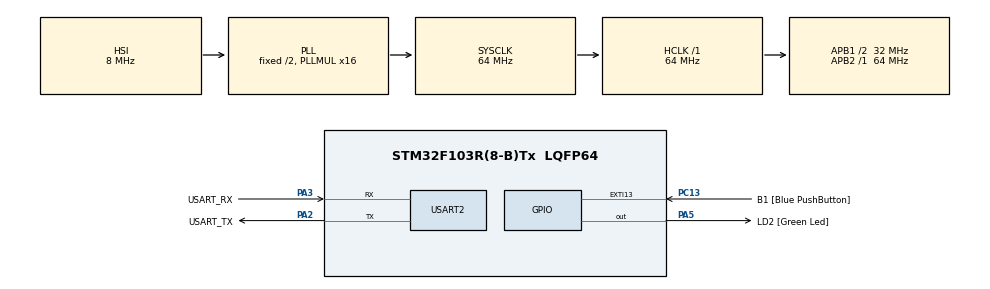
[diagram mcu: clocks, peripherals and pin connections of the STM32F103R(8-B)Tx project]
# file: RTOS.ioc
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FREERTOS.Queues01=QueueUART,16,uint16_t,0,Dynamic,NULL,NULL
FREERTOS.Tasks01=LED,0,128,blink,Default,NULL,Dynamic,NULL,NULL;UART_Rx,-3,128,Rx,Default,NULL,Dynamic,NULL,NULL;UART_Tx,-3,128,Tx,Default,NULL,Dynamic,NULL,NULL
FREERTOS.configUSE_NEWLIB_REENTRANT=1
Mcu.Family=STM32F1
Mcu.Name=STM32F103R(8-B)Tx
Mcu.Package=LQFP64
NVIC.EXTI15_10_IRQn=true\:5\:0\:false\:false\:true\:true\:true\:true\:true
NVIC.PriorityGroup=NVIC_PRIORITYGROUP_4
NVIC.TIM4_IRQn=true\:15\:0\:false\:false\:true\:false\:false\:true\:true
NVIC.TimeBase=TIM4_IRQn
NVIC.TimeBaseIP=TIM4
NVIC.USART2_IRQn=true\:5\:0\:false\:false\:true\:true\:true\:true\:true
PA13.GPIO_Label=TMS
PA13.Mode=Serial_Wire
PA13.Signal=SYS_JTMS-SWDIO
PA14.GPIO_Label=TCK
PA14.Mode=Serial_Wire
PA14.Signal=SYS_JTCK-SWCLK
PA2.GPIO_Label=USART_TX
PA2.GPIO_Mode=GPIO_MODE_AF_PP
PA2.GPIO_PuPd=GPIO_NOPULL
PA2.GPIO_Speed=GPIO_SPEED_FREQ_LOW
PA2.Mode=Asynchronous
PA2.Signal=USART2_TX
PA3.GPIO_Label=USART_RX
PA3.GPIO_Mode=GPIO_MODE_AF_PP
PA3.GPIO_PuPd=GPIO_NOPULL
PA3.GPIO_Speed=GPIO_SPEED_FREQ_LOW
PA3.Mode=Asynchronous
PA3.Signal=USART2_RX
PA5.GPIO_Label=LD2 [Green Led]
PA5.GPIO_ModeDefaultOutputPP=GPIO_MODE_OUTPUT_PP
PA5.GPIO_PuPd=GPIO_NOPULL
PA5.GPIO_Speed=GPIO_SPEED_FREQ_LOW
PA5.Signal=GPIO_Output
PB3.GPIO_Label=SWO
PB3.Signal=SYS_JTDO-TRACESWO
PC13-TAMPER-RTC.GPIO_Label=B1 [Blue PushButton]
PC13-TAMPER-RTC.GPIO_PuPd=GPIO_NOPULL
PC13-TAMPER-RTC.Signal=GPXTI13
PC14-OSC32_IN.Mode=LSE-External-Oscillator
PC14-OSC32_IN.Signal=RCC_OSC32_IN
PC15-OSC32_OUT.Mode=LSE-External-Oscillator
PC15-OSC32_OUT.Signal=RCC_OSC32_OUT
PD0-OSC_IN.Mode=HSE-External-Clock-Source
PD0-OSC_IN.Signal=RCC_OSC_IN
PD1-OSC_OUT.Mode=HSE-External-Clock-Source
PD1-OSC_OUT.Signal=RCC_OSC_OUT
ProjectManager.HeapSize=0x200
ProjectManager.StackSize=0x400
ProjectManager.TargetToolchain=STM32CubeIDE
RCC.AHBFreq_Value=64000000
RCC.APB1CLKDivider=RCC_HCLK_DIV2
RCC.APB1Freq_Value=32000000
RCC.APB1TimFreq_Value=64000000
RCC.APB2Freq_Value=64000000
RCC.APB2TimFreq_Value=64000000
RCC.HCLKFreq_Value=64000000
RCC.PLLMUL=RCC_PLL_MUL16
RCC.RTCClockSelection=RCC_RTCCLKSOURCE_LSE
RCC.SYSCLKFreq_VALUE=64000000
RCC.SYSCLKSource=RCC_SYSCLKSOURCE_PLLCLK
RCC.USBFreq_Value=64000000
USART2.VirtualMode=VM_ASYNC
VP_FREERTOS_VS_CMSIS_V1.Mode=CMSIS_V1
VP_SYS_VS_tim4.Mode=TIM4
board=NUCLEO-F103RB

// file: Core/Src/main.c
/* USER CODE BEGIN Header */
/**
  ******************************************************************************
  * @file           : main.c
  * @brief          : Main program body
  ******************************************************************************
  * @attention
  *
  * Copyright (c) 2023 STMicroelectronics.
  * All rights reserved.
  *
  * This software is licensed under terms that can be found in the LICENSE file
  * in the root directory of this software component.
  * If no LICENSE file comes with this software, it is provided AS-IS.
  *
  ******************************************************************************
  */
/* USER CODE END Header */
#include "main.h"
#include "cmsis_os.h"
#include "usart.h"
#include "gpio.h"

void SystemClock_Config(void);
void MX_FREERTOS_Init(void);

/* USER CODE BEGIN 0 */
int __io_putchar(int ch)
{
    if (ch == '\n') {
        uint8_t ch2 = '\r';
        HAL_UART_Transmit(&huart2, &ch2, 1, HAL_MAX_DELAY);
    }

    HAL_UART_Transmit(&huart2, (uint8_t*)&ch, 1, HAL_MAX_DELAY);
    return 1;
}
/* USER CODE END 0 */

int main(void)
{

  /* MCU Configuration--------------------------------------------------------*/

  /* Reset of all peripherals, Initializes the Flash interface and the Systick. */
  HAL_Init();

  /* Configure the system clock */
  SystemClock_Config();

  /* Initialize all configured peripherals */
  MX_GPIO_Init();
  MX_USART2_UART_Init();

  /* Call init function for freertos objects (in freertos.c) */
  MX_FREERTOS_Init();

  /* Start scheduler */
  osKernelStart();

  /* We should never get here as control is now taken by the scheduler */
  /* Infinite loop */
  while (1)
  {

  }
}

void SystemClock_Config(void)
{
  RCC_OscInitTypeDef RCC_OscInitStruct = {0};
  RCC_ClkInitTypeDef RCC_ClkInitStruct = {0};

  /** Initializes the RCC Oscillators according to the specified parameters
  * in the RCC_OscInitTypeDef structure.
  */
  RCC_OscInitStruct.OscillatorType = RCC_OSCILLATORTYPE_HSI;
  RCC_OscInitStruct.HSIState = RCC_HSI_ON;
  RCC_OscInitStruct.HSICalibrationValue = RCC_HSICALIBRATION_DEFAULT;
  RCC_OscInitStruct.PLL.PLLState = RCC_PLL_ON;
  RCC_OscInitStruct.PLL.PLLSource = RCC_PLLSOURCE_HSI_DIV2;
  RCC_OscInitStruct.PLL.PLLMUL = RCC_PLL_MUL16;
  if (HAL_RCC_OscConfig(&RCC_OscInitStruct) != HAL_OK)
  {
    Error_Handler();
  }

  /** Initializes the CPU, AHB and APB buses clocks
  */
  RCC_ClkInitStruct.ClockType = RCC_CLOCKTYPE_HCLK|RCC_CLOCKTYPE_SYSCLK
                              |RCC_CLOCKTYPE_PCLK1|RCC_CLOCKTYPE_PCLK2;
  RCC_ClkInitStruct.SYSCLKSource = RCC_SYSCLKSOURCE_PLLCLK;
  RCC_ClkInitStruct.AHBCLKDivider = RCC_SYSCLK_DIV1;
  RCC_ClkInitStruct.APB1CLKDivider = RCC_HCLK_DIV2;
  RCC_ClkInitStruct.APB2CLKDivider = RCC_HCLK_DIV1;

  if (HAL_RCC_ClockConfig(&RCC_ClkInitStruct, FLASH_LATENCY_2) != HAL_OK)
  {
    Error_Handler();
  }
}

void HAL_TIM_PeriodElapsedCallback(TIM_HandleTypeDef *htim)
{
  if (htim->Instance == TIM4) {
    HAL_IncTick();
  }
}

void Error_Handler(void)
{
  __disable_irq();
  while (1)
  {
  }
}

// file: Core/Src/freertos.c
/* USER CODE BEGIN Header */
/**
  ******************************************************************************
  * File Name          : freertos.c
  * Description        : Code for freertos applications
  ******************************************************************************
  * @attention
  *
  * Copyright (c) 2023 STMicroelectronics.
  * All rights reserved.
  *
  * This software is licensed under terms that can be found in the LICENSE file
  * in the root directory of this software component.
  * If no LICENSE file comes with this software, it is provided AS-IS.
  *
  ******************************************************************************
  */
/* USER CODE END Header */

#include "FreeRTOS.h"
#include "task.h"
#include "main.h"
#include "cmsis_os.h"

/* USER CODE BEGIN Variables */
static volatile uint16_t delay = 1000;
static const uint8_t len = 0xFF;
static volatile char buff[len];
/* USER CODE END Variables */
osThreadId LEDHandle;
osThreadId UART_RxHandle;
osThreadId UART_TxHandle;
osMessageQId QueueUARTHandle;

void blink(void const * argument);
void Rx(void const * argument);
void Tx(void const * argument);

void MX_FREERTOS_Init(void); /* (MISRA C 2004 rule 8.1) */

/* GetIdleTaskMemory prototype (linked to static allocation support) */
void vApplicationGetIdleTaskMemory( StaticTask_t **ppxIdleTaskTCBBuffer, StackType_t **ppxIdleTaskStackBuffer, uint32_t *pulIdleTaskStackSize );

/* USER CODE BEGIN GET_IDLE_TASK_MEMORY */
static StaticTask_t xIdleTaskTCBBuffer;
static StackType_t xIdleStack[configMINIMAL_STACK_SIZE];

void vApplicationGetIdleTaskMemory( StaticTask_t **ppxIdleTaskTCBBuffer, StackType_t **ppxIdleTaskStackBuffer, uint32_t *pulIdleTaskStackSize )
{
  *ppxIdleTaskTCBBuffer = &xIdleTaskTCBBuffer;
  *ppxIdleTaskStackBuffer = &xIdleStack[0];
  *pulIdleTaskStackSize = configMINIMAL_STACK_SIZE;
  /* place for user code */
}
/* USER CODE END GET_IDLE_TASK_MEMORY */

void MX_FREERTOS_Init(void) {

  /* Create the queue(s) */
  /* definition and creation of QueueUART */
  osMessageQDef(QueueUART, 16, uint16_t);
  QueueUARTHandle = osMessageCreate(osMessageQ(QueueUART), NULL);

  /* Create the thread(s) */
  /* definition and creation of LED */
  osThreadDef(LED, blink, osPriorityNormal, 0, 128);
  LEDHandle = osThreadCreate(osThread(LED), NULL);

  /* definition and creation of UART_Rx */
  osThreadDef(UART_Rx, Rx, osPriorityIdle, 0, 128);
  UART_RxHandle = osThreadCreate(osThread(UART_Rx), NULL);

  /* definition and creation of UART_Tx */
  osThreadDef(UART_Tx, Tx, osPriorityIdle, 0, 128);
  UART_TxHandle = osThreadCreate(osThread(UART_Tx), NULL);

}

void blink(void const * argument)
{
  /* USER CODE BEGIN blink */
  /* Infinite loop */
  for(;;)
  {
	  HAL_GPIO_TogglePin(LD2_GPIO_Port, LD2_Pin);
	  osDelay(delay);
  }
  /* USER CODE END blink */
}

void Rx(void const * argument)
{
  /* USER CODE BEGIN Rx */
	char c;
	uint8_t idx = 0;
	memset(buf, 0, len);
  /* Infinite loop */
  for(;;)
  {
	  //if something is on the UART RX you send it to Queue
	  if(serial2.available() > 0){
		  c = serial2.read();
		  if(idx< len-1){
			  buf[idx] = c;
			  idx++;
		  }
		  if (xQueueSend(QueueUARTHandle, (void *)&buff, 10) != pdTRUE) {
		              printf("ERROR: Could not put item on delay queue.");
		            }
		  xQueueSend(QueueUARTHandle, (void *)&buff,10);
	  memset(buf, 0, len);
	  }
	  else{
		  printf("%c", c);
	  }
    osDelay(1);
  }
  /* USER CODE END Rx */
}

void Tx(void const * argument)
{
  /* USER CODE BEGIN Tx */
  /* Infinite loop */
  for(;;)
  {
	  if(xQueueReceive(&QueueUARTHandle, (void *)&delay, 0) == pdTRUE){
		  printf("Delay wynosi aktualnie %d\n", delay);
	  }
	  //HAL_UART_Transmit(&huart2, (int*) &buff, Size, HAL_MAX_DELAY);
    osDelay(1);
  }
  /* USER CODE END Tx */
}
